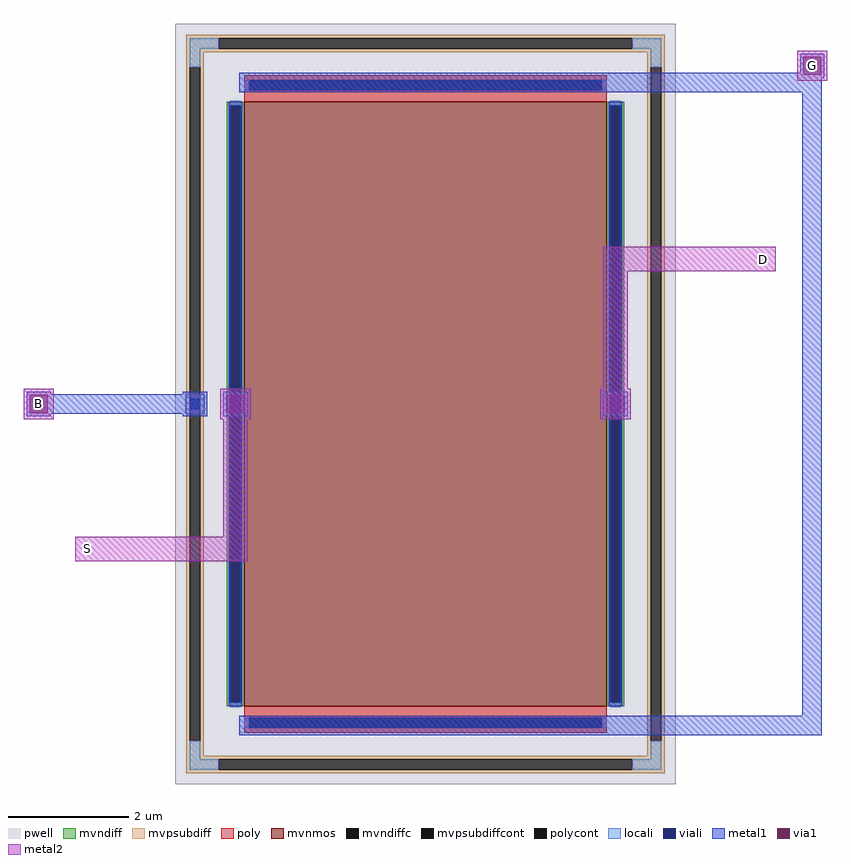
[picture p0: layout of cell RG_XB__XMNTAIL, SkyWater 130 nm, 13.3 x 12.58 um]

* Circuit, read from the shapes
.subckt RG_XB__XMNTAIL B S D G
XM1 D G S B sky130_fd_pr__nfet_g5v0d10v5 w=10 l=6
.ends

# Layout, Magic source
magic
tech sky130A
magscale 1 2
use sky130_fd_pr__nfet_g5v0d10v5_PX3QBC XDEV
transform 1 0 0 0 1 0
box -828 -1258 828 1258
<< locali >>
rect -796 -33 -730 33
<< viali >>
rect -780 -17 -746 17
<< metal1 >>
rect -803 -40 -723 40
rect -1312 -32 -731 32
rect -1320 -40 -1240 40
rect -669 -40 -589 40
rect 589 -40 669 40
rect -616 1032 1312 1096
rect -616 -1096 1312 -1032
rect 1248 -1087 1312 1152
rect 1240 1080 1320 1160
<< via1 >>
rect -1310 -30 -1250 30
rect -659 -30 -599 30
rect 599 -30 659 30
rect 1250 1090 1310 1150
<< metal2 >>
rect -1330 -50 -1230 50
rect -679 -50 -579 50
rect -669 -40 -589 40
rect -669 -520 -589 40
rect 579 -50 679 50
rect 589 -40 669 40
rect 589 -40 669 520
rect -1160 -520 -589 -440
rect 589 440 1160 520
rect 1230 1070 1330 1170
<< labels >>
rlabel metal2 -1310 -30 -1250 30 0 B
port 1 nsew
rlabel metal2 -1150 -510 -1090 -450 0 S
port 2 nsew
rlabel metal2 1090 450 1150 510 0 D
port 3 nsew
rlabel metal2 1250 1090 1310 1150 0 G
port 4 nsew
<< end >>

# cell sky130_fd_pr__nfet_g5v0d10v5_PX3QBC: kit device sky130_fd_pr__nfet_g5v0d10v5, w 10.0 l 6.0 m 1 nf 1 diffcov 100 polycov 100 guard 1 glc 1 grc 1 gtc 1 gbc 1 tbcov 100 rlcov 100 topc 1 botc 1 poverlap 0 doverlap 1 lmin 0.50 wmin 0.42 compatible {sky130_fd_pr__nfet_01v8 sky130_fd_pr__nfet_01v8_lvt sky130_fd_bs_flash__special_sonosfet_star sky130_fd_pr__nfet_g5v0d10v5 sky130_fd_pr__nfet_05v0_nvt sky130_fd_pr__nfet_03v3_nvt} full_metal 1 viasrc 100 viadrn 100 viagate 100 viagb 0 viagr 0 viagl 0 viagt 0
